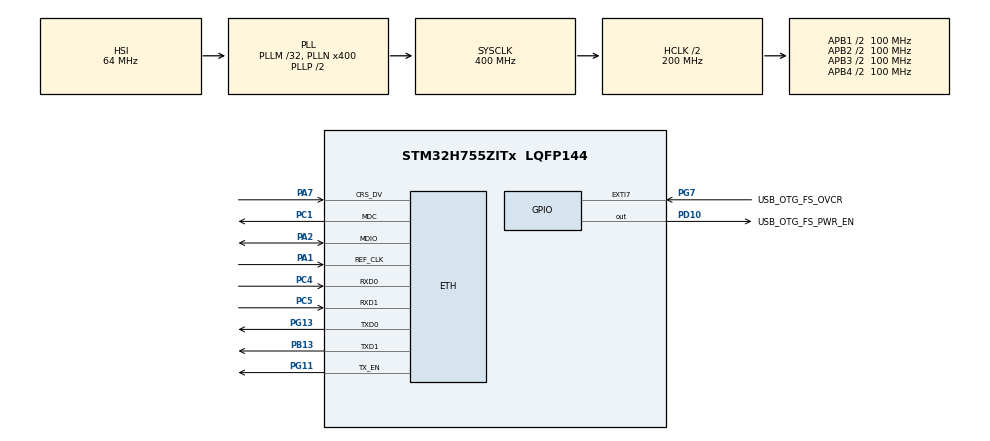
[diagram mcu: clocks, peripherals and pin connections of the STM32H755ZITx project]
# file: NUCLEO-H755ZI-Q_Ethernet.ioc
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CORTEX_M7.AccessPermission-Cortex_Memory_Protection_Unit_Region1_Settings=MPU_REGION_FULL_ACCESS
CORTEX_M7.AccessPermission-Cortex_Memory_Protection_Unit_Region2_Settings=MPU_REGION_FULL_ACCESS
CORTEX_M7.AccessPermission_S-Cortex_Memory_Protection_Unit_Region1_Settings_S=MPU_REGION_FULL_ACCESS
CORTEX_M7.AccessPermission_S-Cortex_Memory_Protection_Unit_Region2_Settings_S=MPU_REGION_FULL_ACCESS
CORTEX_M7.BaseAddress-Cortex_Memory_Protection_Unit_Region1_Settings=0x30020000
CORTEX_M7.BaseAddress-Cortex_Memory_Protection_Unit_Region2_Settings=0x30040000
CORTEX_M7.BaseAddress_S-Cortex_Memory_Protection_Unit_Region1_Settings_S=0x30020000
CORTEX_M7.BaseAddress_S-Cortex_Memory_Protection_Unit_Region2_Settings_S=0x30040000
CORTEX_M7.CPU_DCache=Enabled
CORTEX_M7.CPU_ICache=Enabled
CORTEX_M7.DisableExec-Cortex_Memory_Protection_Unit_Region0_Settings=MPU_INSTRUCTION_ACCESS_DISABLE
CORTEX_M7.DisableExec-Cortex_Memory_Protection_Unit_Region1_Settings=MPU_INSTRUCTION_ACCESS_DISABLE
CORTEX_M7.DisableExec-Cortex_Memory_Protection_Unit_Region2_Settings=MPU_INSTRUCTION_ACCESS_DISABLE
CORTEX_M7.DisableExec_S-Cortex_Memory_Protection_Unit_Region1_Settings_S=MPU_INSTRUCTION_ACCESS_DISABLE
CORTEX_M7.DisableExec_S-Cortex_Memory_Protection_Unit_Region2_Settings_S=MPU_INSTRUCTION_ACCESS_DISABLE
CORTEX_M7.Enable-Cortex_Memory_Protection_Unit_Region0_Settings=MPU_REGION_ENABLE
CORTEX_M7.Enable-Cortex_Memory_Protection_Unit_Region1_Settings=MPU_REGION_ENABLE
CORTEX_M7.Enable-Cortex_Memory_Protection_Unit_Region2_Settings=MPU_REGION_ENABLE
CORTEX_M7.Enable_S-Cortex_Memory_Protection_Unit_Region1_Settings_S=MPU_REGION_ENABLE
CORTEX_M7.Enable_S-Cortex_Memory_Protection_Unit_Region2_Settings_S=MPU_REGION_ENABLE
CORTEX_M7.IsBufferable-Cortex_Memory_Protection_Unit_Region2_Settings=MPU_ACCESS_BUFFERABLE
CORTEX_M7.IsBufferable_S-Cortex_Memory_Protection_Unit_Region2_Settings_S=MPU_ACCESS_BUFFERABLE
CORTEX_M7.IsCacheable-Cortex_Memory_Protection_Unit_Region0_Settings=MPU_ACCESS_NOT_CACHEABLE
CORTEX_M7.IsShareable-Cortex_Memory_Protection_Unit_Region0_Settings=MPU_ACCESS_SHAREABLE
CORTEX_M7.IsShareable-Cortex_Memory_Protection_Unit_Region2_Settings=MPU_ACCESS_SHAREABLE
CORTEX_M7.IsShareable_S-Cortex_Memory_Protection_Unit_Region2_Settings_S=MPU_ACCESS_SHAREABLE
CORTEX_M7.MPU_Control=MPU_PRIVILEGED_DEFAULT
CORTEX_M7.Size-Cortex_Memory_Protection_Unit_Region0_Settings=MPU_REGION_SIZE_4GB
CORTEX_M7.Size-Cortex_Memory_Protection_Unit_Region1_Settings=MPU_REGION_SIZE_128KB
CORTEX_M7.Size-Cortex_Memory_Protection_Unit_Region2_Settings=MPU_REGION_SIZE_512B
CORTEX_M7.Size_S-Cortex_Memory_Protection_Unit_Region1_Settings_S=MPU_REGION_SIZE_128KB
CORTEX_M7.Size_S-Cortex_Memory_Protection_Unit_Region2_Settings_S=MPU_REGION_SIZE_512B
CORTEX_M7.SubRegionDisable-Cortex_Memory_Protection_Unit_Region0_Settings=0x87
CORTEX_M7.TypeExtField-Cortex_Memory_Protection_Unit_Region1_Settings=MPU_TEX_LEVEL1
CORTEX_M7.TypeExtField_S-Cortex_Memory_Protection_Unit_Region1_Settings_S=MPU_TEX_LEVEL1
CORTEX_M7.default_mode_Activation=1
CortexM4.IPs=FATFS_M4\:I,FREERTOS_M4\:I,IWDG2\:I,RCC,WWDG2\:I,DMA,BDMA,MDMA,NVIC2\:I,USART3,DEBUG,PDM2PCM_M4\:I,PWR,RESMGR_UTILITY,SYS_M4\:I,USB_DEVICE_M4\:I,USB_HOST_M4\:I,CORTEX_M4\:I,GPIO,OPENAMP_M4\:I,VREFBUF,NUCLEO-H755ZI-Q
CortexM7.IPs=FATFS_M7\:I,FREERTOS_M7\:I,IWDG1\:I,RCC\:I,WWDG1\:I,DMA\:I,BDMA\:I,MDMA\:I,NVIC1\:I,ETH\:I,USART3\:I,USB_OTG_FS\:I,SYS\:I,CORTEX_M7\:I,DEBUG\:I,PDM2PCM_M7\:I,PWR\:I,RESMGR_UTILITY\:I,USB_DEVICE_M7\:I,USB_HOST_M7\:I,GPIO\:I,OPENAMP_M7\:I,VREFBUF\:I,NUCLEO-H755ZI-Q\:I,TIM6\:I,LWIP\:I,MEMORYMAP\:I
CortexM7.Pins=PD10,PG7
ETH.MediaInterface=HAL_ETH_RMII_MODE
ETH.RxBufferAddress=0x30040200
ETH.RxDescAddress=0x30040000
ETH.TxDescAddress=0x30040060
FREERTOS_M7.Tasks01=defaultTask,24,512,StartDefaultTask,Default,NULL,Dynamic,NULL,NULL
FREERTOS_M7.configMINIMAL_STACK_SIZE=512
FREERTOS_M7.configUSE_NEWLIB_REENTRANT=1
LWIP.BSP.number=1
LWIP.IP_ADDRESS=192.168.001.006
LWIP.LWIP_DHCP=0
LWIP.LWIP_RAM_HEAP_POINTER=0x30020000
LWIP.MEM_SIZE=131048
LWIP.NETMASK_ADDRESS=255.255.255.000
LWIP.Version=v2.1.2_Cube
LWIP0.BSP.STBoard=false
LWIP0.BSP.api=BSP_COMPONENT_DRIVER
LWIP0.BSP.component=LAN8742
LWIP0.BSP.instance=LAN8742
LWIP0.BSP.name=Driver_PHY
LWIP0.BSP.semaphore=S_LAN8742
LWIP0.BSP.solution=LAN8742
Mcu.Family=STM32H7
Mcu.Name=STM32H755ZITx
Mcu.Package=LQFP144
NUCLEO-H755ZI-Q.BUTTON=1
NUCLEO-H755ZI-Q.LD1=true
NUCLEO-H755ZI-Q.LD2=true
NUCLEO-H755ZI-Q.LD3=true
NUCLEO-H755ZI-Q.VCP=true
NVIC1.ETH_IRQn=true\:5\:0\:false\:false\:true\:true\:true\:true\:true
NVIC1.EXTI15_10_IRQn=true\:5\:0\:false\:false\:true\:true\:false\:true\:true
NVIC1.PriorityGroup=NVIC_PRIORITYGROUP_4
NVIC1.TIM6_DAC_IRQn=true\:15\:0\:false\:false\:true\:false\:false\:true\:true
NVIC1.TimeBase=TIM6_DAC_IRQn
NVIC1.TimeBaseIP=TIM6
NVIC2.PriorityGroup=NVIC_PRIORITYGROUP_4
PA1.GPIO_Speed_Default_HIGH=GPIO_SPEED_FREQ_VERY_HIGH
PA1.Mode=RMII
PA1.PinAttribute=CortexM7
PA1.Signal=ETH_REF_CLK
PA11.PinAttribute=CortexM7
PA11.Signal=USB_OTG_FS_DM
PA12.PinAttribute=CortexM7
PA12.Signal=USB_OTG_FS_DP
PA2.GPIO_Speed_Default_HIGH=GPIO_SPEED_FREQ_VERY_HIGH
PA2.Mode=RMII
PA2.PinAttribute=CortexM7
PA2.Signal=ETH_MDIO
PA7.GPIO_Speed_Default_HIGH=GPIO_SPEED_FREQ_VERY_HIGH
PA7.Mode=RMII
PA7.PinAttribute=CortexM7
PA7.Signal=ETH_CRS_DV
PA8.PinAttribute=CortexM7
PA8.Signal=USB_OTG_FS_SOF
PA9.PinAttribute=CortexM7
PA9.Signal=USB_OTG_FS_VBUS
PB13.GPIO_Speed_Default_HIGH=GPIO_SPEED_FREQ_VERY_HIGH
PB13.Mode=RMII
PB13.PinAttribute=CortexM7
PB13.Signal=ETH_TXD1
PC1.GPIO_Speed_Default_HIGH=GPIO_SPEED_FREQ_VERY_HIGH
PC1.Mode=RMII
PC1.PinAttribute=CortexM7
PC1.Signal=ETH_MDC
PC14-OSC32_IN\ (OSC32_IN).PinAttribute=Free
PC14-OSC32_IN\ (OSC32_IN).Signal=RCC_OSC32_IN
PC15-OSC32_OUT\ (OSC32_OUT).PinAttribute=Free
PC15-OSC32_OUT\ (OSC32_OUT).Signal=RCC_OSC32_OUT
PC4.GPIO_Speed_Default_HIGH=GPIO_SPEED_FREQ_VERY_HIGH
PC4.Mode=RMII
PC4.PinAttribute=CortexM7
PC4.Signal=ETH_RXD0
PC5.GPIO_Speed_Default_HIGH=GPIO_SPEED_FREQ_VERY_HIGH
PC5.Mode=RMII
PC5.PinAttribute=CortexM7
PC5.Signal=ETH_RXD1
PD10.GPIO_Label=USB_OTG_FS_PWR_EN
PD10.PinAttribute=CortexM7
PD10.Signal=GPIO_Output
PD8.Signal=USART3_TX
PD9.Signal=USART3_RX
PG11.GPIO_Speed_Default_HIGH=GPIO_SPEED_FREQ_VERY_HIGH
PG11.Mode=RMII
PG11.PinAttribute=CortexM7
PG11.Signal=ETH_TX_EN
PG13.GPIO_Speed_Default_HIGH=GPIO_SPEED_FREQ_VERY_HIGH
PG13.Mode=RMII
PG13.PinAttribute=CortexM7
PG13.Signal=ETH_TXD0
PG7.GPIO_Label=USB_OTG_FS_OVCR
PG7.PinAttribute=CortexM7
PG7.Signal=GPXTI7
PH0-OSC_IN\ (PH0).PinAttribute=Free
PH0-OSC_IN\ (PH0).Signal=RCC_OSC_IN
PH1-OSC_OUT\ (PH1).PinAttribute=Free
PH1-OSC_OUT\ (PH1).Signal=RCC_OSC_OUT
ProjectManager.HeapSize=M4-0x200,M7-0x200
ProjectManager.StackSize=M4-0x400,M7-0x400
ProjectManager.TargetToolchain=STM32CubeIDE
RCC.ADCFreq_Value=129000000
RCC.APB1Freq_Value=100000000
RCC.APB2Freq_Value=100000000
RCC.APB3Freq_Value=100000000
RCC.APB4Freq_Value=100000000
RCC.CortexFreq_Value=400000000
RCC.D1PPRE=RCC_APB3_DIV2
RCC.D2PPRE1=RCC_APB1_DIV2
RCC.D2PPRE2=RCC_APB2_DIV2
RCC.D3PPRE=RCC_APB4_DIV2
RCC.DIVN1=400
RCC.DIVQ1=5
RCC.HCLKFreq_Value=200000000
RCC.HPRE=RCC_HCLK_DIV2
RCC.PLL2FRACN=0
RCC.PLL3FRACN=0
RCC.PLLFRACN=0
RCC.SYSCLKFreq_VALUE=400000000
RCC.SYSCLKSource=RCC_SYSCLKSOURCE_PLLCLK
RCC.SupplySource=PWR_DIRECT_SMPS_SUPPLY
RCC.USBFreq_Value=160000000
VP_FREERTOS_M7_VS_CMSIS_V2.Mode=CMSIS_V2
VP_LWIP_VS_Enabled.Mode=Enabled
VP_MEMORYMAP_VS_MEMORYMAP.Mode=CurAppReg
VP_NUCLEO-H755ZI-Q_VS_BSP_COMMON.Mode=COMMON
VP_SYS_M4_VS_Systick.Mode=SysTick
VP_SYS_VS_tim6.Mode=TIM6
board=NUCLEO-H755ZI-Q

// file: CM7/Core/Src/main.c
/* USER CODE BEGIN Header */
/**
  ******************************************************************************
  * @file           : main.c
  * @brief          : Main program body
  ******************************************************************************
  * @attention
  *
  * Copyright (c) 2025 STMicroelectronics.
  * All rights reserved.
  *
  * This software is licensed under terms that can be found in the LICENSE file
  * in the root directory of this software component.
  * If no LICENSE file comes with this software, it is provided AS-IS.
  *
  ******************************************************************************
  */
/* USER CODE END Header */
#include "main.h"
#include "cmsis_os.h"
#include "lwip.h"

/* USER CODE BEGIN PD */

/* DUAL_CORE_BOOT_SYNC_SEQUENCE: Define for dual core boot synchronization    */
/*                             demonstration code based on hardware semaphore */
/* This define is present in both CM7/CM4 projects                            */
/* To comment when developping/debugging on a single core                     */
#define DUAL_CORE_BOOT_SYNC_SEQUENCE

#if defined(DUAL_CORE_BOOT_SYNC_SEQUENCE)
#ifndef HSEM_ID_0
#define HSEM_ID_0 (0U) /* HW semaphore 0*/
#endif
#endif /* DUAL_CORE_BOOT_SYNC_SEQUENCE */

/* USER CODE END PD */

COM_InitTypeDef BspCOMInit;

/* Definitions for defaultTask */
osThreadId_t defaultTaskHandle;
const osThreadAttr_t defaultTask_attributes = {
  .name = "defaultTask",
  .stack_size = 512 * 4,
  .priority = (osPriority_t) osPriorityNormal,
};

void SystemClock_Config(void);
static void MPU_Config(void);
static void MX_GPIO_Init(void);
void StartDefaultTask(void *argument);

int main(void)
{

/* USER CODE BEGIN Boot_Mode_Sequence_0 */
#if defined(DUAL_CORE_BOOT_SYNC_SEQUENCE)
  int32_t timeout;
#endif /* DUAL_CORE_BOOT_SYNC_SEQUENCE */
/* USER CODE END Boot_Mode_Sequence_0 */

  /* MPU Configuration--------------------------------------------------------*/
  MPU_Config();

  /* Enable the CPU Cache */

  /* Enable I-Cache---------------------------------------------------------*/
  SCB_EnableICache();

  /* Enable D-Cache---------------------------------------------------------*/
  SCB_EnableDCache();

/* USER CODE BEGIN Boot_Mode_Sequence_1 */
#if defined(DUAL_CORE_BOOT_SYNC_SEQUENCE)
  /* Wait until CPU2 boots and enters in stop mode or timeout*/
  timeout = 0xFFFF;
  while((__HAL_RCC_GET_FLAG(RCC_FLAG_D2CKRDY) != RESET) && (timeout-- > 0));
  if ( timeout < 0 )
  {
  Error_Handler();
  }
#endif /* DUAL_CORE_BOOT_SYNC_SEQUENCE */
/* USER CODE END Boot_Mode_Sequence_1 */
  /* MCU Configuration--------------------------------------------------------*/

  /* Reset of all peripherals, Initializes the Flash interface and the Systick. */
  HAL_Init();

  /* Configure the system clock */
  SystemClock_Config();
/* USER CODE BEGIN Boot_Mode_Sequence_2 */
/* USER CODE END Boot_Mode_Sequence_2 */

  /* Initialize all configured peripherals */
  MX_GPIO_Init();
  /* USER CODE BEGIN 2 */

  /* Initialize leds */
  BSP_LED_Init(LED_GREEN);
  BSP_LED_Init(LED_YELLOW);
  BSP_LED_Init(LED_RED);

#if defined(DUAL_CORE_BOOT_SYNC_SEQUENCE)
/* When system initialization is finished, Cortex-M7 will release Cortex-M4 by means of
HSEM notification */
/*HW semaphore Clock enable*/
__HAL_RCC_HSEM_CLK_ENABLE();
/*Take HSEM */
HAL_HSEM_FastTake(HSEM_ID_0);
/*Release HSEM in order to notify the CPU2(CM4)*/
HAL_HSEM_Release(HSEM_ID_0,0);
/* wait until CPU2 wakes up from stop mode */
timeout = 0xFFFF;
while((__HAL_RCC_GET_FLAG(RCC_FLAG_D2CKRDY) == RESET) && (timeout-- > 0));
if ( timeout < 0 )
{
Error_Handler();
}
#endif /* DUAL_CORE_BOOT_SYNC_SEQUENCE */

  /* USER CODE END 2 */

  /* Init scheduler */
  osKernelInitialize();

  /* Create the thread(s) */
  /* creation of defaultTask */
  defaultTaskHandle = osThreadNew(StartDefaultTask, NULL, &defaultTask_attributes);

  /* Initialize USER push-button, will be used to trigger an interrupt each time it's pressed.*/
  BSP_PB_Init(BUTTON_USER, BUTTON_MODE_EXTI);

  /* Initialize COM1 port (115200, 8 bits (7-bit data + 1 stop bit), no parity */
  BspCOMInit.BaudRate   = 115200;
  BspCOMInit.WordLength = COM_WORDLENGTH_8B;
  BspCOMInit.StopBits   = COM_STOPBITS_1;
  BspCOMInit.Parity     = COM_PARITY_NONE;
  BspCOMInit.HwFlowCtl  = COM_HWCONTROL_NONE;
  if (BSP_COM_Init(COM1, &BspCOMInit) != BSP_ERROR_NONE)
  {
    Error_Handler();
  }

  /* Start scheduler */
  osKernelStart();

  /* We should never get here as control is now taken by the scheduler */

  /* Infinite loop */
  /* USER CODE BEGIN WHILE */
  BSP_LED_On(LED_RED);
  while (1)
  {

    /* USER CODE END WHILE */

    /* USER CODE BEGIN 3 */
	  BSP_LED_Toggle(LED_RED);
	  HAL_Delay (100);   /* Insert delay 100 ms */
  }
  /* USER CODE END 3 */
}

void SystemClock_Config(void)
{
  RCC_OscInitTypeDef RCC_OscInitStruct = {0};
  RCC_ClkInitTypeDef RCC_ClkInitStruct = {0};

  /** Supply configuration update enable
  */
  HAL_PWREx_ConfigSupply(PWR_DIRECT_SMPS_SUPPLY);

  /** Configure the main internal regulator output voltage
  */
  __HAL_PWR_VOLTAGESCALING_CONFIG(PWR_REGULATOR_VOLTAGE_SCALE1);

  while(!__HAL_PWR_GET_FLAG(PWR_FLAG_VOSRDY)) {}

  /** Initializes the RCC Oscillators according to the specified parameters
  * in the RCC_OscInitTypeDef structure.
  */
  RCC_OscInitStruct.OscillatorType = RCC_OSCILLATORTYPE_HSI;
  RCC_OscInitStruct.HSIState = RCC_HSI_DIV1;
  RCC_OscInitStruct.HSICalibrationValue = RCC_HSICALIBRATION_DEFAULT;
  RCC_OscInitStruct.PLL.PLLState = RCC_PLL_ON;
  RCC_OscInitStruct.PLL.PLLSource = RCC_PLLSOURCE_HSI;
  RCC_OscInitStruct.PLL.PLLM = 32;
  RCC_OscInitStruct.PLL.PLLN = 400;
  RCC_OscInitStruct.PLL.PLLP = 2;
  RCC_OscInitStruct.PLL.PLLQ = 5;
  RCC_OscInitStruct.PLL.PLLR = 2;
  RCC_OscInitStruct.PLL.PLLRGE = RCC_PLL1VCIRANGE_1;
  RCC_OscInitStruct.PLL.PLLVCOSEL = RCC_PLL1VCOWIDE;
  RCC_OscInitStruct.PLL.PLLFRACN = 0;
  if (HAL_RCC_OscConfig(&RCC_OscInitStruct) != HAL_OK)
  {
    Error_Handler();
  }

  /** Initializes the CPU, AHB and APB buses clocks
  */
  RCC_ClkInitStruct.ClockType = RCC_CLOCKTYPE_HCLK|RCC_CLOCKTYPE_SYSCLK
                              |RCC_CLOCKTYPE_PCLK1|RCC_CLOCKTYPE_PCLK2
                              |RCC_CLOCKTYPE_D3PCLK1|RCC_CLOCKTYPE_D1PCLK1;
  RCC_ClkInitStruct.SYSCLKSource = RCC_SYSCLKSOURCE_PLLCLK;
  RCC_ClkInitStruct.SYSCLKDivider = RCC_SYSCLK_DIV1;
  RCC_ClkInitStruct.AHBCLKDivider = RCC_HCLK_DIV2;
  RCC_ClkInitStruct.APB3CLKDivider = RCC_APB3_DIV2;
  RCC_ClkInitStruct.APB1CLKDivider = RCC_APB1_DIV2;
  RCC_ClkInitStruct.APB2CLKDivider = RCC_APB2_DIV2;
  RCC_ClkInitStruct.APB4CLKDivider = RCC_APB4_DIV2;

  if (HAL_RCC_ClockConfig(&RCC_ClkInitStruct, FLASH_LATENCY_2) != HAL_OK)
  {
    Error_Handler();
  }
}

static void MX_GPIO_Init(void)
{
  GPIO_InitTypeDef GPIO_InitStruct = {0};

  /* GPIO Ports Clock Enable */
  __HAL_RCC_GPIOC_CLK_ENABLE();
  __HAL_RCC_GPIOA_CLK_ENABLE();
  __HAL_RCC_GPIOB_CLK_ENABLE();
  __HAL_RCC_GPIOD_CLK_ENABLE();
  __HAL_RCC_GPIOG_CLK_ENABLE();

  /*Configure GPIO pin Output Level */
  HAL_GPIO_WritePin(USB_OTG_FS_PWR_EN_GPIO_Port, USB_OTG_FS_PWR_EN_Pin, GPIO_PIN_RESET);

  /*Configure GPIO pin : USB_OTG_FS_PWR_EN_Pin */
  GPIO_InitStruct.Pin = USB_OTG_FS_PWR_EN_Pin;
  GPIO_InitStruct.Mode = GPIO_MODE_OUTPUT_PP;
  GPIO_InitStruct.Pull = GPIO_NOPULL;
  GPIO_InitStruct.Speed = GPIO_SPEED_FREQ_LOW;
  HAL_GPIO_Init(USB_OTG_FS_PWR_EN_GPIO_Port, &GPIO_InitStruct);

  /*Configure GPIO pin : USB_OTG_FS_OVCR_Pin */
  GPIO_InitStruct.Pin = USB_OTG_FS_OVCR_Pin;
  GPIO_InitStruct.Mode = GPIO_MODE_IT_RISING;
  GPIO_InitStruct.Pull = GPIO_NOPULL;
  HAL_GPIO_Init(USB_OTG_FS_OVCR_GPIO_Port, &GPIO_InitStruct);

  /*Configure GPIO pins : PA8 PA11 PA12 */
  GPIO_InitStruct.Pin = GPIO_PIN_8|GPIO_PIN_11|GPIO_PIN_12;
  GPIO_InitStruct.Mode = GPIO_MODE_AF_PP;
  GPIO_InitStruct.Pull = GPIO_NOPULL;
  GPIO_InitStruct.Speed = GPIO_SPEED_FREQ_LOW;
  GPIO_InitStruct.Alternate = GPIO_AF10_OTG1_FS;
  HAL_GPIO_Init(GPIOA, &GPIO_InitStruct);

}

void StartDefaultTask(void *argument)
{
  /* init code for LWIP */
  MX_LWIP_Init();
  for(;;)
  {
    osDelay(1);
  }
}

 /* MPU Configuration */

void MPU_Config(void)
{
  MPU_Region_InitTypeDef MPU_InitStruct = {0};

  /* Disables the MPU */
  HAL_MPU_Disable();

  /** Initializes and configures the Region and the memory to be protected
  */
  MPU_InitStruct.Enable = MPU_REGION_ENABLE;
  MPU_InitStruct.Number = MPU_REGION_NUMBER0;
  MPU_InitStruct.BaseAddress = 0x0;
  MPU_InitStruct.Size = MPU_REGION_SIZE_4GB;
  MPU_InitStruct.SubRegionDisable = 0x87;
  MPU_InitStruct.TypeExtField = MPU_TEX_LEVEL0;
  MPU_InitStruct.AccessPermission = MPU_REGION_NO_ACCESS;
  MPU_InitStruct.DisableExec = MPU_INSTRUCTION_ACCESS_DISABLE;
  MPU_InitStruct.IsShareable = MPU_ACCESS_SHAREABLE;
  MPU_InitStruct.IsCacheable = MPU_ACCESS_NOT_CACHEABLE;
  MPU_InitStruct.IsBufferable = MPU_ACCESS_NOT_BUFFERABLE;

  HAL_MPU_ConfigRegion(&MPU_InitStruct);

  /** Initializes and configures the Region and the memory to be protected
  */
  MPU_InitStruct.Number = MPU_REGION_NUMBER1;
  MPU_InitStruct.BaseAddress = 0x30020000;
  MPU_InitStruct.Size = MPU_REGION_SIZE_128KB;
  MPU_InitStruct.SubRegionDisable = 0x0;
  MPU_InitStruct.TypeExtField = MPU_TEX_LEVEL1;
  MPU_InitStruct.AccessPermission = MPU_REGION_FULL_ACCESS;
  MPU_InitStruct.IsShareable = MPU_ACCESS_NOT_SHAREABLE;

  HAL_MPU_ConfigRegion(&MPU_InitStruct);

  /** Initializes and configures the Region and the memory to be protected
  */
  MPU_InitStruct.Number = MPU_REGION_NUMBER2;
  MPU_InitStruct.BaseAddress = 0x30040000;
  MPU_InitStruct.Size = MPU_REGION_SIZE_512B;
  MPU_InitStruct.TypeExtField = MPU_TEX_LEVEL0;
  MPU_InitStruct.IsShareable = MPU_ACCESS_SHAREABLE;
  MPU_InitStruct.IsBufferable = MPU_ACCESS_BUFFERABLE;

  HAL_MPU_ConfigRegion(&MPU_InitStruct);
  /* Enables the MPU */
  HAL_MPU_Enable(MPU_PRIVILEGED_DEFAULT);

}

void HAL_TIM_PeriodElapsedCallback(TIM_HandleTypeDef *htim)
{
  if (htim->Instance == TIM6)
  {
    HAL_IncTick();
  }
}

void Error_Handler(void)
{
  __disable_irq();
  while (1)
  {
  }
}
